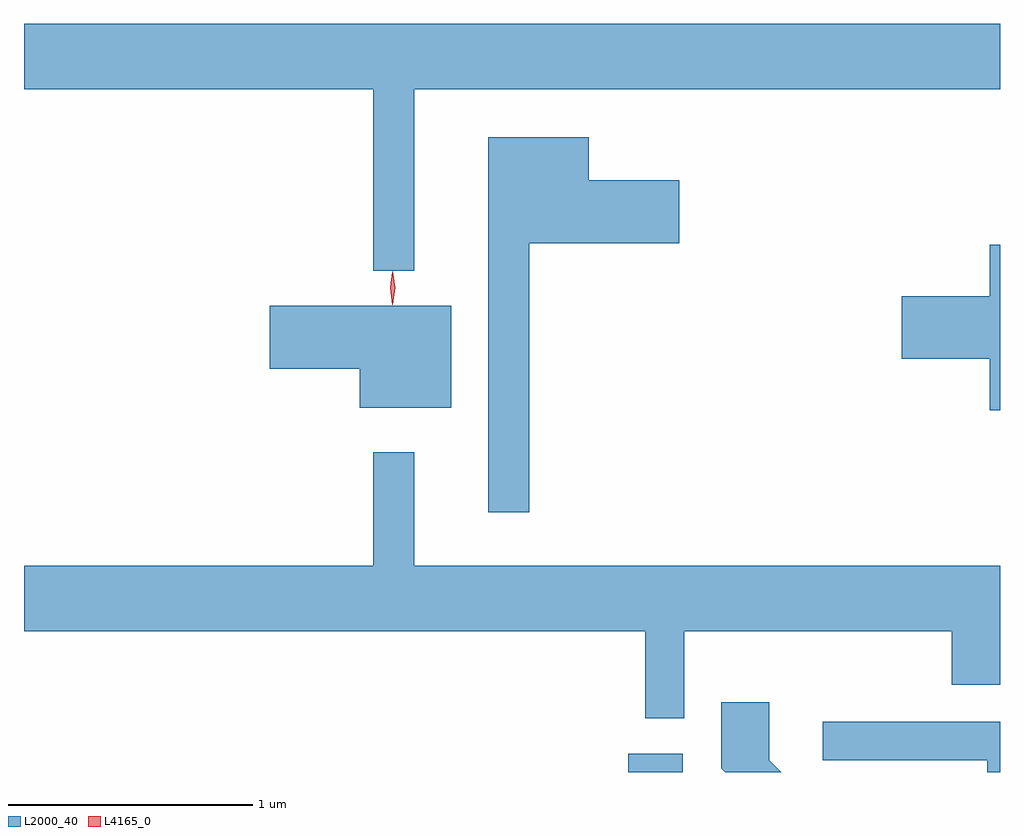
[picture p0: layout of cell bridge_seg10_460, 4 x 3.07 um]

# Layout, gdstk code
import gdstk
lib = gdstk.Library(unit=1e-6, precision=1e-09)
def R(c, l, rs):  # rectangles x0, y0, x1, y1
    for r in rs: c.add(gdstk.rectangle(r[:2], r[2:], *l))
def P(c, l, *ps):  # polygons
    for p in ps: c.add(gdstk.Polygon(p, *l))
L2000_40 = (2000, 40)
L4165_0 = (4165, 0)

bridge_seg10_460 = lib.new_cell('bridge_seg10_460')
R(bridge_seg10_460, L2000_40, [(958.616,2182.158,958.839,2182.234)])
P(bridge_seg10_460, L2000_40, [(957.739,2184.956),(960.139,2184.956),(960.139,2185.224),(956.139,2185.224),(956.139,2184.956),(957.571,2184.956),(957.571,2184.213),(957.739,2184.213)],
  [(958.209,2184.326),(958.824,2184.326),(958.824,2184.584),(958.454,2184.584),(958.454,2184.759),(958.041,2184.759),(958.041,2183.223),(958.209,2183.223)],
  [(960.139,2184.319),(960.096,2184.319),(960.096,2184.109),(959.736,2184.109),(959.736,2183.851),(960.096,2183.851),(960.096,2183.641),(960.139,2183.641)],
  [(957.889,2184.069),(957.146,2184.069),(957.146,2183.811),(957.516,2183.811),(957.516,2183.651),(957.889,2183.651)],
  [(958.844,2182.736),(959.941,2182.736),(959.941,2182.516),(960.139,2182.516),(960.139,2183.004),(957.739,2183.004),(957.739,2183.468),(957.571,2183.468),(957.571,2183.004),(956.139,2183.004),(956.139,2182.736),(958.686,2182.736),(958.686,2182.378),(958.844,2182.378)],
  [(959.194,2182.207),(959.194,2182.444),(958.996,2182.444),(958.996,2182.174),(959.012,2182.158),(959.243,2182.158)],
  [(960.139,2182.364),(959.413,2182.364),(959.413,2182.206),(960.086,2182.206),(960.086,2182.158),(960.139,2182.158)])
P(bridge_seg10_460, L4165_0, [(957.649,2184.074),(957.64,2184.142),(957.65,2184.21),(957.65,2184.21),(957.651,2184.21),(957.66,2184.142),(957.65,2184.074),(957.65,2184.074)],
  [(957.648,2184.08),(957.648,2184.081),(957.639,2184.144),(957.649,2184.206),(957.65,2184.207),(957.65,2184.206),(957.659,2184.144),(957.649,2184.081)])

lib.write_gds('bridge_seg10_460.gds')
